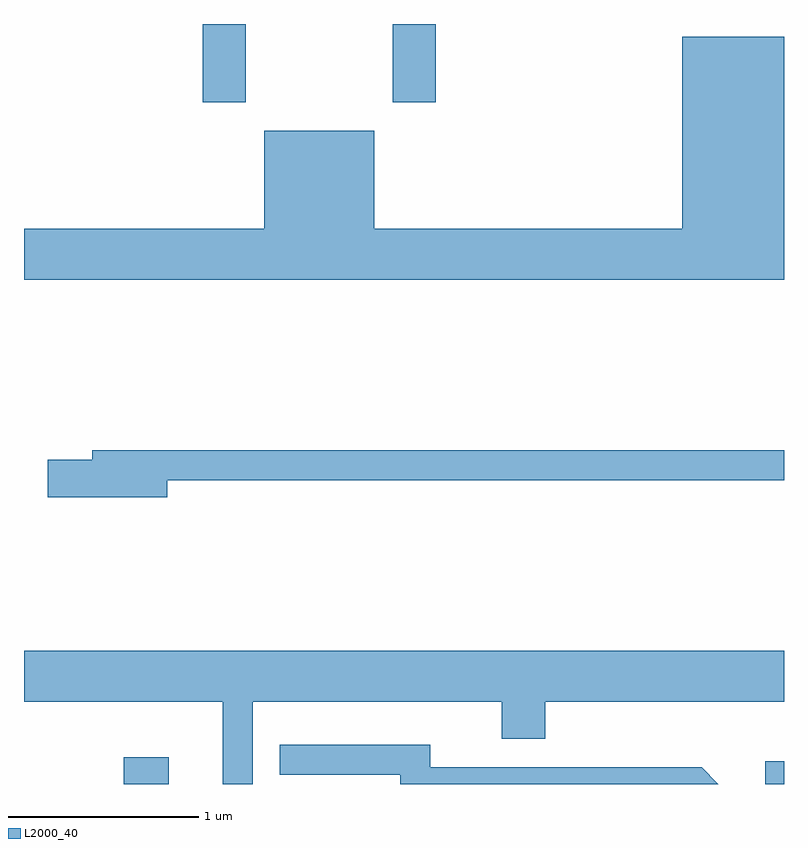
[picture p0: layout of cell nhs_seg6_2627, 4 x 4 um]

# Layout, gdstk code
import gdstk
lib = gdstk.Library(unit=1e-6, precision=1e-09)
def R(c, l, rs):  # rectangles x0, y0, x1, y1
    for r in rs: c.add(gdstk.rectangle(r[:2], r[2:], *l))
def P(c, l, *ps):  # polygons
    for p in ps: c.add(gdstk.Polygon(p, *l))
L2000_40 = (2000, 40)

nhs_seg6_2627 = lib.new_cell('nhs_seg6_2627')
R(nhs_seg6_2627, L2000_40, [(264.136,1656.162,264.374,1656.304), (267.511,1656.162,267.611,1656.283), (264.551,1659.751,264.779,1660.162), (265.551,1659.751,265.779,1660.162)])
P(nhs_seg6_2627, L2000_40, [(267.611,1660.094),(267.076,1660.094),(267.076,1659.084),(265.454,1659.084),(265.454,1659.599),(264.876,1659.599),(264.876,1659.084),(263.611,1659.084),(263.611,1658.816),(267.611,1658.816)],
  [(264.364,1657.761),(267.611,1657.761),(267.611,1657.919),(263.971,1657.919),(263.971,1657.869),(263.736,1657.869),(263.736,1657.671),(264.364,1657.671)],
  [(263.611,1656.596),(264.656,1656.596),(264.656,1656.162),(264.814,1656.162),(264.814,1656.596),(266.126,1656.596),(266.126,1656.401),(266.354,1656.401),(266.354,1656.596),(267.611,1656.596),(267.611,1656.864),(263.611,1656.864)],
  [(267.177,1656.249),(265.749,1656.249),(265.749,1656.369),(264.958,1656.369),(264.958,1656.211),(265.591,1656.211),(265.591,1656.162),(267.264,1656.162)])

lib.write_gds('nhs_seg6_2627.gds')
